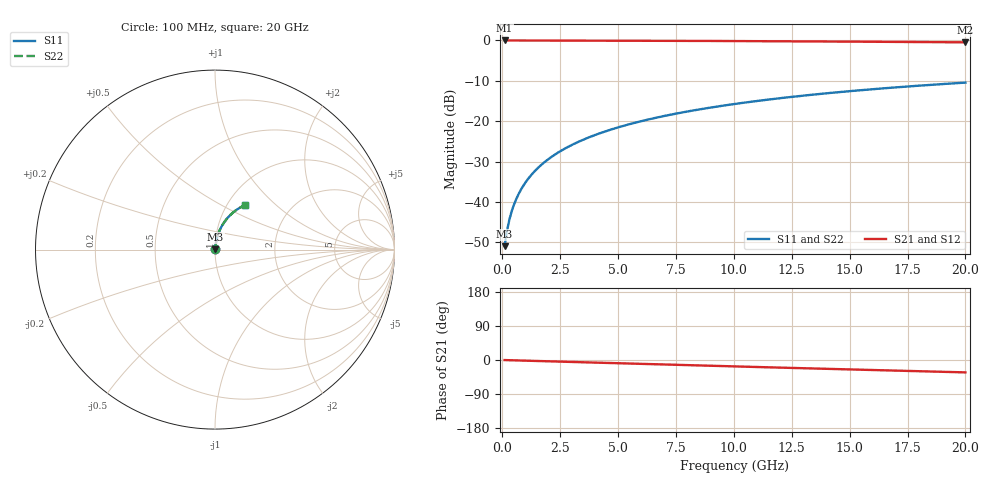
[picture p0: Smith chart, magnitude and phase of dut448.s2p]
! Touchstone file exported from HFSS 2026.1.0
!  File:  C:/ffzhzh/LocalFiles/Ansys_Project_Files/temp_train_TMRDL_448_1783005757_53980.aedt
!  Generated:  11:23:59 PM Jul  2, 2026
!  Design:  TMRDL
!  Project:  temp_train_TMRDL_448_1783005757_53980
! Variables:
!  h_bsmrdl = 2um
!  h_ox = 20um
!  h_rdl = 5um
!  h_sub = 80um
!  h_tmrdl = 3um
!  h_tsv = 80um
!  h_via = 3um
!  l_bsmrdl = 300um
!  l_sub = 850.13um
!  l_tmrdl = 450.13um
!  m_sub = 200um
!  pitch = 56.99um
!  r_tsv = 6um
!  s_tmrdl = 10um
!  w_bsmrdl = 18um
!  w_sub = 500um
!  w_tmrdl = 29.09um
!  x_tsv_center1 = 464.675um
!  x_tsv_center2 = 782.675um
!  x_tsv_center3 = 1261.895um
!  x_tsv_center4 = 1579.895um
!  x_tsv_center5 = 2059.115um
!  x_tsv_center6 = 2377.115um
# GHz S MA R 50.000000
! Terminal data exported
! Port[1] = TM_RDL1_1_T1
! Port[2] = TM_RDL1_1_T2
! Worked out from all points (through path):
!   200 points, 100 MHz to 20 GHz, reference 50 ohm
!   highest |S21| = -0.02 dB at 100 MHz (marker M1); lowest = -0.5 dB at 20 GHz (marker M2)
!   group delay of S21, straight-line fit = 4.54 ps
!   lowest |S11| = -50.9 dB at 100 MHz (marker M3), VSWR 1.01, Z = 50.2 + j0.189 ohm
!   |S11| at or under -10 dB: start of sweep to end of sweep
!   |S22| runs from -50.9 to -10.5 dB; largest |S21 - S12| = 2.1e-15
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0.1  0.002842 41.4  0.9979 -0.2  0.9979 -0.2  0.002842 41.4
! Gamma 0 0 0 0
! Port Impedance 50 0 50 0
0.2  0.004338 58.5  0.9977 -0.4  0.9977 -0.4  0.004338 58.5
0.3  0.005959 66.0  0.9976 -0.5  0.9976 -0.5  0.005959 66.0
0.4  0.007589 70.1  0.9975 -0.7  0.9975 -0.7  0.007589 70.1
0.5  0.009217 72.9  0.9974 -0.9  0.9974 -0.9  0.009217 72.9
0.6  0.01085 74.8  0.9973 -1.1  0.9973 -1.1  0.01085 74.8
0.8  0.01412 77.4  0.9972 -1.4  0.9972 -1.4  0.01412 77.4
1.1  0.01907 79.6  0.997 -1.9  0.997 -1.9  0.01907 79.6
1.3  0.0224 80.4  0.9969 -2.2  0.9969 -2.2  0.0224 80.4
1.6  0.0274 81.1  0.9967 -2.8  0.9967 -2.8  0.0274 81.1
2.1  0.03576 81.5  0.9963 -3.6  0.9963 -3.6  0.03576 81.5
2.7  0.04578 81.4  0.9958 -4.6  0.9958 -4.6  0.04578 81.4
3.5  0.0591 80.7  0.9949 -6.0  0.9949 -6.0  0.0591 80.7
4.2  0.07069 79.9  0.9939 -7.2  0.9939 -7.2  0.07069 79.9
5  0.08384 78.9  0.9927 -8.5  0.9927 -8.5  0.08384 78.8
5.9  0.09847 77.5  0.991 -10.1  0.991 -10.1  0.09848 77.5
6.8  0.1129 76.2  0.9892 -11.6  0.9892 -11.6  0.1129 76.2
8.3  0.1366 73.9  0.9857 -14.1  0.9857 -14.1  0.1366 73.8
10.1  0.1643 71.0  0.9808 -17.0  0.9808 -17.0  0.1643 71.0
13.4  0.2129 65.9  0.9706 -22.4  0.9706 -22.4  0.2129 65.9
16.7  0.2583 60.8  0.9588 -27.6  0.9588 -27.6  0.2583 60.8
20  0.3002 55.9  0.9461 -32.7  0.9461 -32.7  0.3002 55.9
